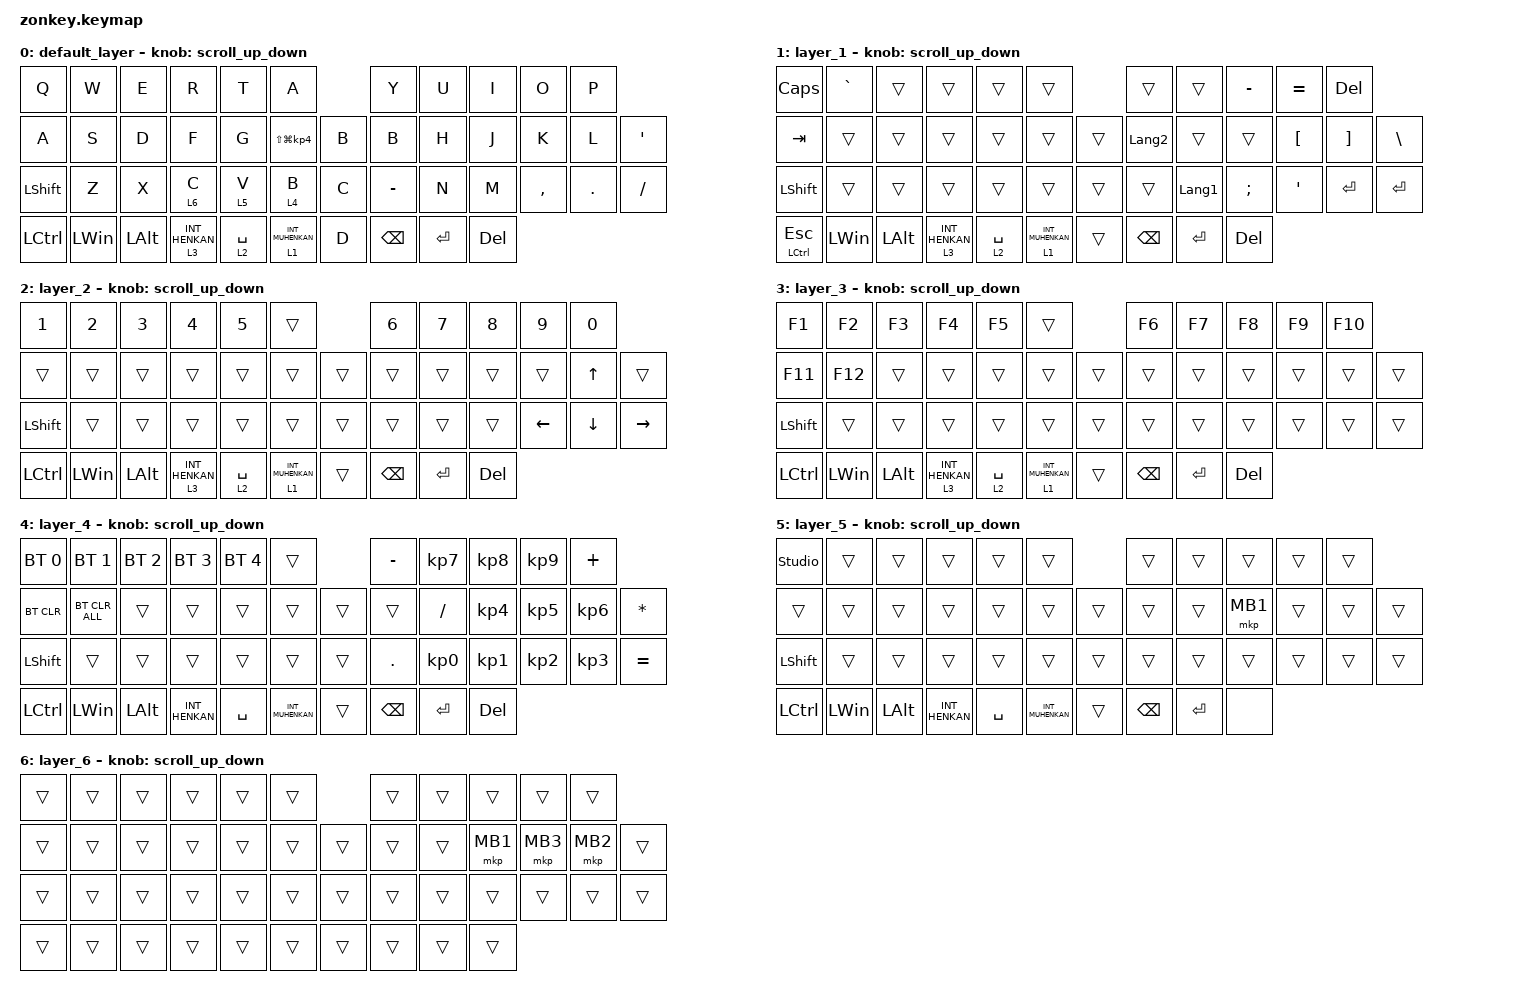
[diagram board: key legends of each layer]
#include <behaviors.dtsi>
#include <dt-bindings/zmk/bt.h>
#include <dt-bindings/zmk/keys.h>
#include <dt-bindings/zmk/pointing.h>

/* Redefinition guard for pointing */#include <behaviors.dtsi>#include <behaviors.dtsi>
#include <dt-bindings/zmk/bt.h>
#include <dt-bindings/zmk/keys.h>
#include <dt-bindings/zmk/pointing.h>

/* Redefinition guard for pointing */

#ifdef ZMK_POINTING_DEFAULT_SCRL_VAL
#undef ZMK_POINTING_DEFAULT_SCRL_VAL
#endif

#define ZMK_POINTING_DEFAULT_SCRL_VAL 100
#define MOUSE 6
#define JP_DQUOTE       AT                // "
#define JP_AMPERSAND    CARET             // &
#define JP_QUOTE        AMPERSAND         // '
#define JP_EQUAL        UNDER             // =
#define JP_CARET        EQUAL             // ^
#define JP_YEN          0x89              // ¥
#define JP_PLUS         COLON             // +
#define JP_TILDE        PLUS              // ~
#define JP_PIPE         LS(0x89)          // |
#define JP_AT           LEFT_BRACKET      // @
#define JP_COLON        SINGLE_QUOTE      // :
#define JP_ASTERISK     DOUBLE_QUOTES     // *
#define JP_BACKQUOTE    LEFT_BRACE        // `
#define JP_UNDERSCORE   LS(0x87)          // _
#define JP_LBRACKET     RIGHT_BRACKET     // [
#define JP_RBRACKET     BACKSLASH         // ]
#define JP_LPAREN       ASTERISK          // (
#define JP_RPAREN       LEFT_PARENTHESIS  // )
#define JP_LBRACE       RIGHT_BRACE       // {
#define JP_RBRACE       PIPE              // }
#define JP_KANA         LANGUAGE_1        // かな
#define JP_EISU         LANGUAGE_2        // 英数
#define JP_HANZEN       GRAVE             // 半角/全角
#define JP_BSLH  INT1         // (backslash)

&mt {
    flavor = "balanced";
    quick-tap-ms = <0>;
};

/ {
    combos { compatible = "zmk,combos"; };

    macros {
        to_layer_0: to_layer_0 {
            compatible = "zmk,behavior-macro-one-param";
            #binding-cells = <1>;
            bindings = <&to 0 &macro_param_1to1 &kp MACRO_PLACEHOLDER>;
            label = "TO_LAYER_0";
        };
    };

    behaviors {
        lt_repeat: lt_repeat {
            compatible = "zmk,behavior-hold-tap";
            label = "LAYER_TAP_REPEAT";
            bindings = <&mo>, <&kp>;

            #binding-cells = <2>;
            flavor = "hold-preferred";  // 長押しを少し強めに優先
            tapping-term-ms = <1000>;    // 長押し判定（好みに応じて200〜300で調整）
            quick-tap-ms = <900>;      // タップ+長押しでリピートさせる時間
        };

        scroll_up_down: behavior_sensor_rotate_mouse_wheel_up_down {
            compatible = "zmk,behavior-sensor-rotate";
            #sensor-binding-cells = <0>;
            bindings = <&msc SCRL_DOWN>, <&msc SCRL_UP>;

            tap-ms = <20>;
        };
    };

    keymap {
        compatible = "zmk,keymap";

        default_layer {
            // -----------------------------------------------------------------------------------------
            // |  Q  |  W  |  E  |  R  |  T  |                        |  Y  |  U   |  I  |  O  |  P  | 
            // |  A  |  S  |  D  |  F  |  G  |LS(LG(S))|        　 | - |  H  |  J   |  K  |  L  |  `  | 
            // |SHIFT|  Z  |  X  |  C  |  V  |  B  |           | ; |  N  |  M   |  ,  |  .  |  /  | 
            // | CTRL | WIN | ALT |HENKAN|SPACE|MUHENKAN|       | BS | ENT |      　　　　       | DEL |           

            bindings = <
&kp Q           &kp W         &kp E         &kp R                    &kp T               &kp A                             &kp Y          &kp U      &kp I    &kp O      &kp P
&kp A           &kp S         &kp D         &kp F                    &kp G               &kp LS(LG(KP_NUMBER_4))    &kp B  &kp B          &kp H      &kp J    &kp K      &kp L    &kp SQT
&kp LEFT_SHIFT  &kp Z         &kp X         &lt_repeat 6 C           &lt_repeat 5 V      &lt_repeat 4 B             &kp C  &kp MINUS      &kp N      &kp M    &kp COMMA  &kp DOT  &kp SLASH
&kp LCTRL       &kp LEFT_WIN  &kp LEFT_ALT  &lt_repeat 3 INT_HENKAN  &lt_repeat 2 SPACE  &lt_repeat 1 INT_MUHENKAN  &kp D  &kp BACKSPACE  &kp ENTER  &kp DEL
            >;

            sensor-bindings = <&scroll_up_down>;
        };

        layer_1 {
            // -----------------------------------------------------------------------------------------
            // | 半角/全角 |CAPS|     |     |     |                     |     |     |  -  |  ^  |  ¥  |
            // | TAB |     |     |     |     |     |              |    |     |     |     |  @  |  [  |
            // |SHIFT|     |     |     |     |     |            | 英数 | かな |     |     |     |  ]  |
            // | CTRL| WIN | ALT |HENKAN|SPACE|MUHENKAN|         | BS | ENT |                   | DEL |

            bindings = <
&kp CAPSLOCK    &kp GRAVE     &trans        &trans            &trans       &trans                      &trans         &trans       &kp MINUS      &kp EQUAL         &kp DEL
&kp TAB         &trans        &trans        &trans            &trans       &trans              &trans  &kp JP_EISU    &trans       &trans         &kp LEFT_BRACKET  &kp RIGHT_BRACKET  &kp BACKSLASH
&kp LEFT_SHIFT  &trans        &trans        &trans            &trans       &trans              &trans  &trans         &kp JP_KANA  &kp SEMICOLON  &kp SQT           &kp RETURN         &kp RET
&mt LCTL ESC    &kp LEFT_WIN  &kp LEFT_ALT  &lt 3 INT_HENKAN  &lt 2 SPACE  &lt 1 INT_MUHENKAN  &trans  &kp BACKSPACE  &kp ENTER    &kp DEL
            >;

            sensor-bindings = <&scroll_up_down>;
        };

        layer_2 {
            // -----------------------------------------------------------------------------------------
            // |  1  |  2  |  3  |  4  |  5  |                     |  6  |  7  |  8  |  9  |   0  |
            // |      |     |     |     |     |     |           |    |     |     |     |  ↑  |      |
            // |SHIFT|     |     |     |     |     |           |     |     |     |  ←  |  ↓  |  →  |
            // | CTRL| WIN | ALT |HENKAN|SPACE|MUHENKAN|         | BS | ENT |                   | DEL |

            bindings = <
&kp N1          &kp N2        &kp N3        &kp N4            &kp N5       &trans                      &kp N6         &kp N7     &kp N8   &kp N9          &kp N0
&trans          &trans        &trans        &trans            &trans       &trans              &trans  &trans         &trans     &trans   &trans          &kp UP_ARROW    &trans
&kp LEFT_SHIFT  &trans        &trans        &trans            &trans       &trans              &trans  &trans         &trans     &trans   &kp LEFT_ARROW  &kp DOWN_ARROW  &kp RIGHT_ARROW
&kp LCTRL       &kp LEFT_WIN  &kp LEFT_ALT  &lt 3 INT_HENKAN  &lt 2 SPACE  &lt 1 INT_MUHENKAN  &trans  &kp BACKSPACE  &kp ENTER  &kp DEL
            >;

            sensor-bindings = <&scroll_up_down>;
        };

        layer_3 {
            // -----------------------------------------------------------------------------------------
            // | F1  | F2  | F3  | F4  | F5  |                     | F6  | F7 | F8  | F9 | F10 |
            // | F11 | F12 |     |     |     |     |           |    |     |     |     |     |      |
            // |SHIFT|     |     |     |     |     |           |     |     |     |     |     |      |
            // | CTRL| WIN | ALT |HENKAN|SPACE|MUHENKAN|         | BS | ENT |                   | DEL |

            bindings = <
&kp F1          &kp F2        &kp F3        &kp F4            &kp F5       &trans                      &kp F6         &kp F7     &kp F8   &kp F9  &kp F10
&kp F11         &kp F12       &trans        &trans            &trans       &trans              &trans  &trans         &trans     &trans   &trans  &trans   &trans
&kp LEFT_SHIFT  &trans        &trans        &trans            &trans       &trans              &trans  &trans         &trans     &trans   &trans  &trans   &trans
&kp LCTRL       &kp LEFT_WIN  &kp LEFT_ALT  &lt 3 INT_HENKAN  &lt 2 SPACE  &lt 1 INT_MUHENKAN  &trans  &kp BACKSPACE  &kp ENTER  &kp DEL
            >;

            sensor-bindings = <&scroll_up_down>;
        };

        layer_4 {
            // -----------------------------------------------------------------------------------------
            // | BT0 | BT1 | BT2 | BT3 | BT4 |                |  -  |  7  |  8  |  9  |  +  |
            // |BTCLR |     |     |     |     |     |           |  /  |  4  |  5  |  6  |  *  | 
            // |SHIFT|     |     |     |     |     |           |  0  |  1  |  2  |   3 |  .  |  =  |
            // | CTRL| WIN | ALT |HENKAN|SPACE|MUHENKAN|        | BS | ENT |                  | DEL |

            bindings = <
&bt BT_SEL 0    &bt BT_SEL 1    &bt BT_SEL 2  &bt BT_SEL 3    &bt BT_SEL 4  &trans                    &kp MINUS      &kp KP_NUMBER_7  &kp KP_NUMBER_8  &kp KP_NUMBER_9  &kp PLUS
&bt BT_CLR      &bt BT_CLR_ALL  &trans        &trans          &trans        &trans            &trans  &trans         &kp SLASH        &kp KP_NUMBER_4  &kp KP_NUMBER_5  &kp KP_NUMBER_6  &kp ASTERISK
&kp LEFT_SHIFT  &trans          &trans        &trans          &trans        &trans            &trans  &kp PERIOD     &kp KP_NUMBER_0  &kp KP_NUMBER_1  &kp KP_NUMBER_2  &kp KP_NUMBER_3  &kp EQUAL
&kp LCTRL       &kp LEFT_WIN    &kp LEFT_ALT  &kp INT_HENKAN  &kp SPACE     &kp INT_MUHENKAN  &trans  &kp BACKSPACE  &kp ENTER        &kp DEL
            >;

            sensor-bindings = <&scroll_up_down>;
        };

        layer_5 {
            bindings = <
&studio_unlock  &trans        &trans        &trans          &trans     &trans                    &trans         &trans     &trans    &trans  &trans
&trans          &trans        &trans        &trans          &trans     &trans            &trans  &trans         &trans     &mkp MB1  &trans  &trans  &trans
&kp LEFT_SHIFT  &trans        &trans        &trans          &trans     &trans            &trans  &trans         &trans     &trans    &trans  &trans  &trans
&kp LCTRL       &kp LEFT_WIN  &kp LEFT_ALT  &kp INT_HENKAN  &kp SPACE  &kp INT_MUHENKAN  &trans  &kp BACKSPACE  &kp ENTER  &none
            >;

            sensor-bindings = <&scroll_up_down>;
        };

        layer_6 {
            bindings = <
&trans  &trans  &trans  &trans  &trans  &trans          &trans  &trans  &trans    &trans    &trans
&trans  &trans  &trans  &trans  &trans  &trans  &trans  &trans  &trans  &mkp MB1  &mkp MB3  &mkp MB2  &trans
&trans  &trans  &trans  &trans  &trans  &trans  &trans  &trans  &trans  &trans    &trans    &trans    &trans
&trans  &trans  &trans  &trans  &trans  &trans  &trans  &trans  &trans  &trans
            >;

            sensor-bindings = <&scroll_up_down>;
        };
    };
};
#include <dt-bindings/zmk/bt.h>
#include <dt-bindings/zmk/keys.h>
#include <dt-bindings/zmk/pointing.h>

/* Redefinition guard for pointing */

#ifdef ZMK_POINTING_DEFAULT_SCRL_VAL
#undef ZMK_POINTING_DEFAULT_SCRL_VAL
#endif

#define ZMK_POINTING_DEFAULT_SCRL_VAL 100
#define MOUSE 6
#define JP_DQUOTE       AT                // "
#define JP_AMPERSAND    CARET             // &
#define JP_QUOTE        AMPERSAND         // '
#define JP_EQUAL        UNDER             // =
#define JP_CARET        EQUAL             // ^
#define JP_YEN          0x89              // ¥
#define JP_PLUS         COLON             // +
#define JP_TILDE        PLUS              // ~
#define JP_PIPE         LS(0x89)          // |
#define JP_AT           LEFT_BRACKET      // @
#define JP_COLON        SINGLE_QUOTE      // :
#define JP_ASTERISK     DOUBLE_QUOTES     // *
#define JP_BACKQUOTE    LEFT_BRACE        // `
#define JP_UNDERSCORE   LS(0x87)          // _
#define JP_LBRACKET     RIGHT_BRACKET     // [
#define JP_RBRACKET     BACKSLASH         // ]
#define JP_LPAREN       ASTERISK          // (
#define JP_RPAREN       LEFT_PARENTHESIS  // )
#define JP_LBRACE       RIGHT_BRACE       // {
#define JP_RBRACE       PIPE              // }
#define JP_KANA         LANGUAGE_1        // かな
#define JP_EISU         LANGUAGE_2        // 英数
#define JP_HANZEN       GRAVE             // 半角/全角
#define JP_BSLH  INT1         // (backslash)

&mt {
    flavor = "balanced";
    quick-tap-ms = <0>;
};

/ {
    combos { compatible = "zmk,combos"; };

    macros {
        to_layer_0: to_layer_0 {
            compatible = "zmk,behavior-macro-one-param";
            #binding-cells = <1>;
            bindings = <&to 0 &macro_param_1to1 &kp MACRO_PLACEHOLDER>;
            label = "TO_LAYER_0";
        };
    };

    behaviors {
        lt_repeat: lt_repeat {
            compatible = "zmk,behavior-hold-tap";
            label = "LAYER_TAP_REPEAT";
            bindings = <&mo>, <&kp>;

            #binding-cells = <2>;
            flavor = "hold-preferred";  // 長押しを少し強めに優先
            tapping-term-ms = <1000>;    // 長押し判定（好みに応じて200〜300で調整）
            quick-tap-ms = <900>;      // タップ+長押しでリピートさせる時間
        };

        scroll_up_down: behavior_sensor_rotate_mouse_wheel_up_down {
            compatible = "zmk,behavior-sensor-rotate";
            #sensor-binding-cells = <0>;
            bindings = <&msc SCRL_DOWN>, <&msc SCRL_UP>;

            tap-ms = <20>;
        };
    };

    keymap {
        compatible = "zmk,keymap";

        default_layer {
            label = "default_layer";
            bindings = <
                &mt TAB Q
                &kp W    &kp E    &kp R    &kp T    &trans    &kp Y    &kp U    &kp I    &kp O    &kp P    &kp A    &kp S
                &kp D    &kp F    &kp G    &kp LANGUAGE_2    &trans    &kp B    &kp H    &kp J    &kp K    &kp L    &kp SEMICOLON
                &kp LEFT_SHIFT    &kp Z    &kp X    &lt 6 C    &lt 5 V    &lt 4 B    &trans    &kp LANGUAGE_1    &kp N    &kp M    &kp COMMA    &kp DOT
                &kp SLASH    &kp LCTRL
                &kp LEFT_WIN    &kp LEFT_ALT    &kp LEFT_WIN    &kp LEFT_ALT
                &lt 1 SPACE
                &trans
                &lt 2 BACKSPACE
                &lt 1 ENTER
                &kp DEL
            >;
            sensor-bindings = <&scroll_up_down>;
        };

        layer_1 {
            label = "layer_1";
            bindings = <
                &kp NUMBER_1
                &kp NUMBER_2    &kp NUMBER_3    &kp NUMBER_4    &kp NUMBER_5    &trans    &kp NUMBER_6    &kp NUMBER_7    &kp UP_ARROW    &kp NUMBER_8    &kp NUMBER_9    &kp TAB    &kp BACKSPACE
                &kp ENTER    &kp DEL    &trans    &trans    &trans    &kp JP_EISU    &trans    &kp LEFT_ARROW    &kp DOWN_ARROW    &kp RIGHT    &kp SINGLE_QUOTE
                &kp LEFT_SHIFT    &trans    &trans    &trans    &trans    &trans    &trans    &trans    &kp JP_KANA    &trans    &trans    &trans
                &kp DOUBLE_QUOTES    &mt LCTL ESC
                &kp LEFT_WIN    &kp LEFT_ALT    &lt 3 INT_HENKAN    &lt 2 SPACE
                &lt 1 INT_MUHENKAN
                &trans
                &kp BACKSPACE
                &kp ENTER
                &kp NUMBER_0
            >;
            sensor-bindings = <&scroll_up_down>;
        };

        layer_2 {
            label = "layer_2";
            bindings = <
                &kp LS(N1)
                &kp LS(NUMBER_2)    &kp LS(N3)    &kp LS(N4)    &kp LS(N5)    &trans    &kp LS(N6)    &kp LS(N7)    &kp LS(N8)    &kp LS(N9)    &kp LS(N0)    &trans    &trans
                &trans    &trans    &trans    &trans    &trans    &trans    &kp MINUS    &kp EQUAL    &kp LEFT_BRACKET    &kp RIGHT_BRACKET    &kp BACKSLASH
                &kp LEFT_SHIFT    &trans    &trans    &trans    &trans    &trans    &trans    &trans    &kp LS(MINUS)    &kp LS(EQUAL)    &kp LS(LEFT_BRACKET)    &kp LS(RIGHT_BRACKET)
                &kp LS(BACKSLASH)    &kp LCTRL
                &kp LEFT_WIN    &kp LEFT_ALT    &lt 3 INT_HENKAN    &lt 2 SPACE
                &lt 1 INT_MUHENKAN
                &trans
                &kp BACKSPACE
                &kp ENTER
                &kp HASH
            >;
            sensor-bindings = <&scroll_up_down>;
        };

        layer_3 {
            label = "layer_3";
            bindings = <
                &kp LS(NUMBER_1)
                &kp LS(NUMBER_2)    &kp LS(NUMBER_3)    &kp LS(NUMBER_4)    &kp LS(NUMBER_5)    &trans    &kp LS(NUMBER_6)    &kp LS(NUMBER_7)    &kp LS(NUMBER_8)    &kp LS(NUMBER_9)    &kp LS(NUMBER_0)    &trans    &trans
                &trans    &trans    &trans    &trans    &trans    &trans    &trans    &trans    &trans    &trans    &trans
                &kp LEFT_SHIFT    &trans    &trans    &trans    &trans    &trans    &trans    &trans    &trans    &trans    &trans    &trans
                &trans    &kp LCTRL
                &kp LEFT_WIN    &kp LEFT_ALT    &lt 3 INT_HENKAN    &lt 2 SPACE
                &lt 1 INT_MUHENKAN
                &trans
                &kp BACKSPACE
                &kp ENTER
                &kp DEL
            >;
            sensor-bindings = <&scroll_up_down>;
        };

        layer_4 {
            label = "layer_4";
            bindings = <
                &bt BT_SEL 0
                &bt BT_SEL 1    &bt BT_SEL 2    &bt BT_SEL 3    &bt BT_SEL 4    &trans    &kp MINUS    &kp KP_NUMBER_7    &kp KP_NUMBER_8    &kp KP_NUMBER_9    &kp PLUS    &bt BT_CLR    &bt BT_CLR_ALL
                &trans    &trans    &trans    &trans    &trans    &trans    &kp SLASH    &kp KP_NUMBER_4    &kp KP_NUMBER_5    &kp KP_NUMBER_6    &kp ASTERISK
                &kp LEFT_SHIFT    &trans    &trans    &trans    &trans    &trans    &trans    &kp DOT    &kp KP_NUMBER_0    &kp KP_NUMBER_1    &kp KP_NUMBER_2    &kp KP_NUMBER_3
                &kp EQUAL    &kp LCTRL
                &kp LEFT_WIN    &kp LEFT_ALT    &kp INT_HENKAN    &kp SPACE
                &kp INT_MUHENKAN
                &trans
                &kp BACKSPACE
                &kp ENTER
                &kp DEL
            >;
            sensor-bindings = <&scroll_up_down>;
        };

        layer_5 {
            label = "layer_5";
            bindings = <
                &trans
                &trans    &trans    &trans    &trans    &trans    &trans    &trans    &trans    &trans    &trans    &trans    &trans
                &trans    &trans    &trans    &trans    &trans    &trans    &trans    &trans    &trans    &trans    &trans
                &kp LEFT_SHIFT    &trans    &trans    &trans    &trans    &trans    &trans    &trans    &trans    &trans    &trans    &trans
                &trans    &kp LCTRL
                &kp LEFT_WIN    &kp LEFT_ALT    &kp INT_HENKAN    &kp SPACE
                &kp INT_MUHENKAN
                &trans
                &kp BACKSPACE
                &kp ENTER
                &kp DEL
            >;
            sensor-bindings = <&scroll_up_down>;
        };

        layer_6 {
            label = "layer_6";
            bindings = <
                &trans
                &trans    &trans    &trans    &trans    &trans    &trans    &trans    &trans    &trans    &trans    &trans    &trans
                &trans    &trans    &trans    &trans    &trans    &trans    &trans    &mkp MB1    &mkp MB3    &mkp MB2    &trans
                &trans    &trans    &trans    &trans    &trans    &trans    &trans    &trans    &trans    &trans    &trans    &trans
                &trans    &trans
                &trans    &trans    &trans    &trans
                &trans
                &trans
                &trans
                &trans
                &trans
            >;
            sensor-bindings = <&scroll_up_down>;
        };
    };
};


#ifdef ZMK_POINTING_DEFAULT_SCRL_VAL
#undef ZMK_POINTING_DEFAULT_SCRL_VAL
#endif

#define ZMK_POINTING_DEFAULT_SCRL_VAL 100
#define MOUSE 6
#define JP_DQUOTE       AT                // "
#define JP_AMPERSAND    CARET             // &
#define JP_QUOTE        AMPERSAND         // '
#define JP_EQUAL        UNDER             // =
#define JP_CARET        EQUAL             // ^
#define JP_YEN          0x89              // ¥
#define JP_PLUS         COLON             // +
#define JP_TILDE        PLUS              // ~
#define JP_PIPE         LS(0x89)          // |
#define JP_AT           LEFT_BRACKET      // @
#define JP_COLON        SINGLE_QUOTE      // :
#define JP_ASTERISK     DOUBLE_QUOTES     // *
#define JP_BACKQUOTE    LEFT_BRACE        // `
#define JP_UNDERSCORE   LS(0x87)          // _
#define JP_LBRACKET     RIGHT_BRACKET     // [
#define JP_RBRACKET     BACKSLASH         // ]
#define JP_LPAREN       ASTERISK          // (
#define JP_RPAREN       LEFT_PARENTHESIS  // )
#define JP_LBRACE       RIGHT_BRACE       // {
#define JP_RBRACE       PIPE              // }
#define JP_KANA         LANGUAGE_1        // かな
#define JP_EISU         LANGUAGE_2        // 英数
#define JP_HANZEN       GRAVE             // 半角/全角
#define JP_BSLH  INT1         // (backslash)

&mt {
    flavor = "balanced";
    quick-tap-ms = <0>;
};

/ {
    combos { compatible = "zmk,combos"; };

    macros {
        to_layer_0: to_layer_0 {
            compatible = "zmk,behavior-macro-one-param";
            #binding-cells = <1>;
            bindings = <&to 0 &macro_param_1to1 &kp MACRO_PLACEHOLDER>;
            label = "TO_LAYER_0";
        };
    };

    behaviors {
        lt_repeat: lt_repeat {
            compatible = "zmk,behavior-hold-tap";
            label = "LAYER_TAP_REPEAT";
            bindings = <&mo>, <&kp>;

            #binding-cells = <2>;
            flavor = "hold-preferred";  // 長押しを少し強めに優先
            tapping-term-ms = <1000>;    // 長押し判定（好みに応じて200〜300で調整）
            quick-tap-ms = <900>;      // タップ+長押しでリピートさせる時間
        };

        scroll_up_down: behavior_sensor_rotate_mouse_wheel_up_down {
            compatible = "zmk,behavior-sensor-rotate";
            #sensor-binding-cells = <0>;
            bindings = <&msc SCRL_DOWN>, <&msc SCRL_UP>;

            tap-ms = <20>;
        };
    };

    keymap {
        compatible = "zmk,keymap";

        default_layer {
            // -----------------------------------------------------------------------------------------
            // |  Q  |  W  |  E  |  R  |  T  |                        |  Y  |  U   |  I  |  O  |  P  | 
            // |  A  |  S  |  D  |  F  |  G  |LS(LG(S))|        　 | - |  H  |  J   |  K  |  L  |  `  | 
            // |SHIFT|  Z  |  X  |  C  |  V  |  B  |           | ; |  N  |  M   |  ,  |  .  |  /  | 
            // | CTRL | WIN | ALT |HENKAN|SPACE|MUHENKAN|       | BS | ENT |      　　　　       | DEL |           

            bindings = <
&kp Q           &kp W         &kp E         &kp R                    &kp T               &kp A                             &kp Y          &kp U      &kp I    &kp O      &kp P
&kp A           &kp S         &kp D         &kp F                    &kp G               &kp LS(LG(KP_NUMBER_4))    &kp B  &kp B          &kp H      &kp J    &kp K      &kp L    &kp SQT
&kp LEFT_SHIFT  &kp Z         &kp X         &lt_repeat 6 C           &lt_repeat 5 V      &lt_repeat 4 B             &kp C  &kp MINUS      &kp N      &kp M    &kp COMMA  &kp DOT  &kp SLASH
&kp LCTRL       &kp LEFT_WIN  &kp LEFT_ALT  &lt_repeat 3 INT_HENKAN  &lt_repeat 2 SPACE  &lt_repeat 1 INT_MUHENKAN  &kp D  &kp BACKSPACE  &kp ENTER  &kp DEL
            >;

            sensor-bindings = <&scroll_up_down>;
        };

        layer_1 {
            // -----------------------------------------------------------------------------------------
            // | 半角/全角 |CAPS|     |     |     |                     |     |     |  -  |  ^  |  ¥  |
            // | TAB |     |     |     |     |     |              |    |     |     |     |  @  |  [  |
            // |SHIFT|     |     |     |     |     |            | 英数 | かな |     |     |     |  ]  |
            // | CTRL| WIN | ALT |HENKAN|SPACE|MUHENKAN|         | BS | ENT |                   | DEL |

            bindings = <
&kp CAPSLOCK    &kp GRAVE     &trans        &trans            &trans       &trans                      &trans         &trans       &kp MINUS      &kp EQUAL         &kp DEL
&kp TAB         &trans        &trans        &trans            &trans       &trans              &trans  &kp JP_EISU    &trans       &trans         &kp LEFT_BRACKET  &kp RIGHT_BRACKET  &kp BACKSLASH
&kp LEFT_SHIFT  &trans        &trans        &trans            &trans       &trans              &trans  &trans         &kp JP_KANA  &kp SEMICOLON  &kp SQT           &kp RETURN         &kp RET
&mt LCTL ESC    &kp LEFT_WIN  &kp LEFT_ALT  &lt 3 INT_HENKAN  &lt 2 SPACE  &lt 1 INT_MUHENKAN  &trans  &kp BACKSPACE  &kp ENTER    &kp DEL
            >;

            sensor-bindings = <&scroll_up_down>;
        };

        layer_2 {
            // -----------------------------------------------------------------------------------------
            // |  1  |  2  |  3  |  4  |  5  |                     |  6  |  7  |  8  |  9  |   0  |
            // |      |     |     |     |     |     |           |    |     |     |     |  ↑  |      |
            // |SHIFT|     |     |     |     |     |           |     |     |     |  ←  |  ↓  |  →  |
            // | CTRL| WIN | ALT |HENKAN|SPACE|MUHENKAN|         | BS | ENT |                   | DEL |

            bindings = <
&kp N1          &kp N2        &kp N3        &kp N4            &kp N5       &trans                      &kp N6         &kp N7     &kp N8   &kp N9          &kp N0
&trans          &trans        &trans        &trans            &trans       &trans              &trans  &trans         &trans     &trans   &trans          &kp UP_ARROW    &trans
&kp LEFT_SHIFT  &trans        &trans        &trans            &trans       &trans              &trans  &trans         &trans     &trans   &kp LEFT_ARROW  &kp DOWN_ARROW  &kp RIGHT_ARROW
&kp LCTRL       &kp LEFT_WIN  &kp LEFT_ALT  &lt 3 INT_HENKAN  &lt 2 SPACE  &lt 1 INT_MUHENKAN  &trans  &kp BACKSPACE  &kp ENTER  &kp DEL
            >;

            sensor-bindings = <&scroll_up_down>;
        };

        layer_3 {
            // -----------------------------------------------------------------------------------------
            // | F1  | F2  | F3  | F4  | F5  |                     | F6  | F7 | F8  | F9 | F10 |
            // | F11 | F12 |     |     |     |     |           |    |     |     |     |     |      |
            // |SHIFT|     |     |     |     |     |           |     |     |     |     |     |      |
            // | CTRL| WIN | ALT |HENKAN|SPACE|MUHENKAN|         | BS | ENT |                   | DEL |

            bindings = <
&kp F1          &kp F2        &kp F3        &kp F4            &kp F5       &trans                      &kp F6         &kp F7     &kp F8   &kp F9  &kp F10
&kp F11         &kp F12       &trans        &trans            &trans       &trans              &trans  &trans         &trans     &trans   &trans  &trans   &trans
&kp LEFT_SHIFT  &trans        &trans        &trans            &trans       &trans              &trans  &trans         &trans     &trans   &trans  &trans   &trans
&kp LCTRL       &kp LEFT_WIN  &kp LEFT_ALT  &lt 3 INT_HENKAN  &lt 2 SPACE  &lt 1 INT_MUHENKAN  &trans  &kp BACKSPACE  &kp ENTER  &kp DEL
            >;

            sensor-bindings = <&scroll_up_down>;
        };

        layer_4 {
            // -----------------------------------------------------------------------------------------
            // | BT0 | BT1 | BT2 | BT3 | BT4 |                |  -  |  7  |  8  |  9  |  +  |
            // |BTCLR |     |     |     |     |     |           |  /  |  4  |  5  |  6  |  *  | 
            // |SHIFT|     |     |     |     |     |           |  0  |  1  |  2  |   3 |  .  |  =  |
            // | CTRL| WIN | ALT |HENKAN|SPACE|MUHENKAN|        | BS | ENT |                  | DEL |

            bindings = <
&bt BT_SEL 0    &bt BT_SEL 1    &bt BT_SEL 2  &bt BT_SEL 3    &bt BT_SEL 4  &trans                    &kp MINUS      &kp KP_NUMBER_7  &kp KP_NUMBER_8  &kp KP_NUMBER_9  &kp PLUS
&bt BT_CLR      &bt BT_CLR_ALL  &trans        &trans          &trans        &trans            &trans  &trans         &kp SLASH        &kp KP_NUMBER_4  &kp KP_NUMBER_5  &kp KP_NUMBER_6  &kp ASTERISK
&kp LEFT_SHIFT  &trans          &trans        &trans          &trans        &trans            &trans  &kp PERIOD     &kp KP_NUMBER_0  &kp KP_NUMBER_1  &kp KP_NUMBER_2  &kp KP_NUMBER_3  &kp EQUAL
&kp LCTRL       &kp LEFT_WIN    &kp LEFT_ALT  &kp INT_HENKAN  &kp SPACE     &kp INT_MUHENKAN  &trans  &kp BACKSPACE  &kp ENTER        &kp DEL
            >;

            sensor-bindings = <&scroll_up_down>;
        };

        layer_5 {
            bindings = <
&studio_unlock  &trans        &trans        &trans          &trans     &trans                    &trans         &trans     &trans    &trans  &trans
&trans          &trans        &trans        &trans          &trans     &trans            &trans  &trans         &trans     &mkp MB1  &trans  &trans  &trans
&kp LEFT_SHIFT  &trans        &trans        &trans          &trans     &trans            &trans  &trans         &trans     &trans    &trans  &trans  &trans
&kp LCTRL       &kp LEFT_WIN  &kp LEFT_ALT  &kp INT_HENKAN  &kp SPACE  &kp INT_MUHENKAN  &trans  &kp BACKSPACE  &kp ENTER  &none
            >;

            sensor-bindings = <&scroll_up_down>;
        };

        layer_6 {
            bindings = <
&trans  &trans  &trans  &trans  &trans  &trans          &trans  &trans  &trans    &trans    &trans
&trans  &trans  &trans  &trans  &trans  &trans  &trans  &trans  &trans  &mkp MB1  &mkp MB3  &mkp MB2  &trans
&trans  &trans  &trans  &trans  &trans  &trans  &trans  &trans  &trans  &trans    &trans    &trans    &trans
&trans  &trans  &trans  &trans  &trans  &trans  &trans  &trans  &trans  &trans
            >;

            sensor-bindings = <&scroll_up_down>;
        };
    };
};
